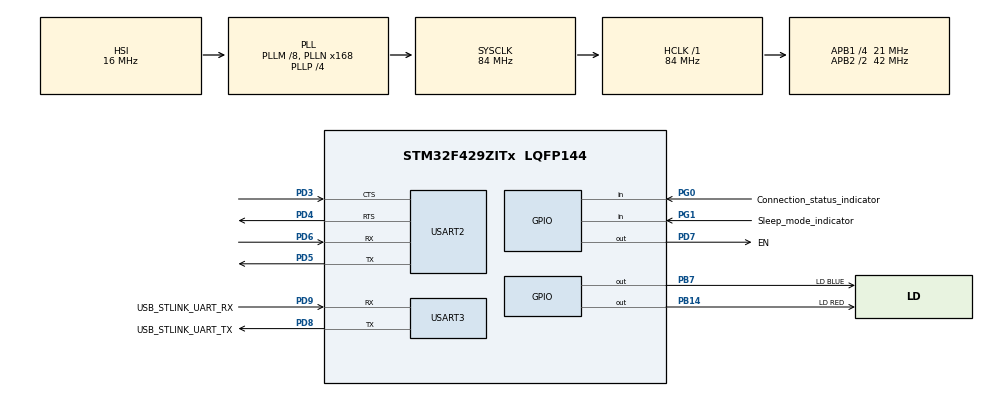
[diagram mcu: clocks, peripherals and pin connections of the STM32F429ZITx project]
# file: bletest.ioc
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Mcu.Family=STM32F4
Mcu.Name=STM32F429ZITx
Mcu.Package=LQFP144
NVIC.PriorityGroup=NVIC_PRIORITYGROUP_4
NVIC.RCC_IRQn=true\:0\:0\:false\:false\:true\:true
NVIC.USART2_IRQn=true\:0\:0\:false\:false\:true\:true
NVIC.USART3_IRQn=true\:0\:0\:false\:false\:true\:true
PB14.GPIO_Label=LD RED
PB14.Signal=GPIO_Output
PB7.GPIO_Label=LD BLUE
PB7.Signal=GPIO_Output
PD3.GPIO_PuPd=GPIO_PULLDOWN
PD3.Mode=CTS_RTS
PD3.Signal=USART2_CTS
PD4.GPIO_PuPd=GPIO_PULLUP
PD4.Mode=CTS_RTS
PD4.Signal=USART2_RTS
PD5.Mode=Asynchronous
PD5.Signal=USART2_TX
PD6.Mode=Asynchronous
PD6.Signal=USART2_RX
PD7.GPIO_Label=EN
PD7.Signal=GPIO_Output
PD8.GPIO_Label=USB_STLINK_UART_TX
PD8.Mode=Asynchronous
PD8.Signal=USART3_TX
PD9.GPIO_Label=USB_STLINK_UART_RX
PD9.Mode=Asynchronous
PD9.Signal=USART3_RX
PG0.GPIO_Label=Connection_status_indicator
PG0.Signal=GPIO_Input
PG1.GPIO_Label=Sleep_mode_indicator
PG1.Signal=GPIO_Input
PH0/OSC_IN.Mode=HSE-External-Oscillator
PH0/OSC_IN.Signal=RCC_OSC_IN
PH1/OSC_OUT.Mode=HSE-External-Oscillator
PH1/OSC_OUT.Signal=RCC_OSC_OUT
ProjectManager.HeapSize=0x200
ProjectManager.StackSize=0x400
ProjectManager.TargetToolchain=MDK-ARM V5
RCC.48MHZClocksFreq_Value=48000000
RCC.AHBFreq_Value=84000000
RCC.APB1CLKDivider=RCC_HCLK_DIV4
RCC.APB1Freq_Value=21000000
RCC.APB1TimFreq_Value=42000000
RCC.APB2CLKDivider=RCC_HCLK_DIV2
RCC.APB2Freq_Value=42000000
RCC.APB2TimCLKDivider=2
RCC.APB2TimFreq_Value=84000000
RCC.CortexFreq_Value=84000000
RCC.HCLKFreq_Value=84000000
RCC.HSE_VALUE=8000000
RCC.HSI_VALUE=16000000
RCC.LSE_VALUE=32768
RCC.PLLM=8
RCC.PLLMUL=RCC_PLL_MUL9
RCC.PLLN=168
RCC.PLLP=RCC_PLLP_DIV4
RCC.PLLQ=7
RCC.PRESCALERUSB=RCC_USBCLKSOURCE_PLL_DIV1_5
RCC.SYSCLKFreq_VALUE=84000000
RCC.SYSCLKSource=RCC_SYSCLKSOURCE_PLLCLK
RCC.SYSCLKSourceVirtual=RCC_SYSCLKSOURCE_PLLCLK
RCC.USBFreq_Value=48000000
RCC.VCOOutputFreq_Value=336000000
USART2.VirtualMode=VM_ASYNC
USART3.VirtualMode=VM_ASYNC
board=NUCLEO-F429ZI

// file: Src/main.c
/**
  ******************************************************************************
  * @file           : main.c
  * @brief          : Main program body
  ******************************************************************************
  ** This notice applies to any and all portions of this file
  * that are not between comment pairs USER CODE BEGIN and
  * USER CODE END. Other portions of this file, whether
  * inserted by the user or by software development tools
  * are owned by their respective copyright owners.
  *
  * COPYRIGHT(c) 2018 STMicroelectronics
  *
  * Redistribution and use in source and binary forms, with or without modification,
  * are permitted provided that the following conditions are met:
  *   1. Redistributions of source code must retain the above copyright notice,
  *      this list of conditions and the following disclaimer.
  *   2. Redistributions in binary form must reproduce the above copyright notice,
  *      this list of conditions and the following disclaimer in the documentation
  *      and/or other materials provided with the distribution.
  *   3. Neither the name of STMicroelectronics nor the names of its contributors
  *      may be used to endorse or promote products derived from this software
  *      without specific prior written permission.
  *
  * THIS SOFTWARE IS PROVIDED BY THE COPYRIGHT HOLDERS AND CONTRIBUTORS "AS IS"
  * AND ANY EXPRESS OR IMPLIED WARRANTIES, INCLUDING, BUT NOT LIMITED TO, THE
  * IMPLIED WARRANTIES OF MERCHANTABILITY AND FITNESS FOR A PARTICULAR PURPOSE ARE
  * DISCLAIMED. IN NO EVENT SHALL THE COPYRIGHT HOLDER OR CONTRIBUTORS BE LIABLE
  * FOR ANY DIRECT, INDIRECT, INCIDENTAL, SPECIAL, EXEMPLARY, OR CONSEQUENTIAL
  * DAMAGES (INCLUDING, BUT NOT LIMITED TO, PROCUREMENT OF SUBSTITUTE GOODS OR
  * SERVICES; LOSS OF USE, DATA, OR PROFITS; OR BUSINESS INTERRUPTION) HOWEVER
  * CAUSED AND ON ANY THEORY OF LIABILITY, WHETHER IN CONTRACT, STRICT LIABILITY,
  * OR TORT (INCLUDING NEGLIGENCE OR OTHERWISE) ARISING IN ANY WAY OUT OF THE USE
  * OF THIS SOFTWARE, EVEN IF ADVISED OF THE POSSIBILITY OF SUCH DAMAGE.
  *
  ******************************************************************************
  */
#include "main.h"
#include "stm32f4xx_hal.h"

/* USER CODE BEGIN Includes */
#include <stdlib.h>
#include <string.h>
#include <stdio.h>
//#include "ringbuffer.h"
#define RBUFSIZE 500
/* USER CODE END Includes */

UART_HandleTypeDef huart2;
UART_HandleTypeDef huart3;

/* USER CODE BEGIN PV */
/* Private variables ---------------------------------------------------------*/

/* USER CODE END PV */

void SystemClock_Config(void);
static void MX_GPIO_Init(void);
static void MX_USART3_UART_Init(void);
static void MX_USART2_UART_Init(void);

/* USER CODE BEGIN PFP */
/* Private function prototypes -----------------------------------------------*/

/* USER CODE END PFP */

/* USER CODE BEGIN 0 */
	uint8_t rec_from_BLE[500];
	uint8_t tmp_from_BLE[1];
	uint8_t rec_from_PC[500];
	uint8_t tmp_from_PC[1];
	uint8_t DISCON[17]="TTM:DISCONNECT\r\n\0";
	uint8_t Ble_Cnt,Pc_Cnt;

//	ringbuffer_t rb;//ringbuffer variable
	uint8_t tbrawbuffer[RBUFSIZE];//ring buffer's raw buffer
	uint8_t userbuffer[RBUFSIZE];//the buffer for get data from ring buffer

void HAL_UART_RxCpltCallback(UART_HandleTypeDef *huart)
{
			/*
		BRTS
			As the data sending requests (for module wake-up)
			0: Host has data to send, and module will wait for data transmission from the host so will not sleep
			1: Host has no data to send, or data has been sent. So the value of the signal should be set at "1".
		BCTS
			Data input signal (for host wake-up, optional)
			0: Module has data to send, and the host will receive the data.
			1: Module has no data to send, or data has been sent, and the value of the signal will be set at "1".

		HAL_GPIO_WritePin(GPIOF,GPIO_PIN_13,GPIO_PIN_RESET); //BCTS 0
	  HAL_GPIO_WritePin(GPIOF,GPIO_PIN_12,GPIO_PIN_SET); //BRTS 1
		*/
	if((huart->Instance)==USART2){ //uart - ble.  receive from ble module //to mcu
		HAL_GPIO_WritePin(GPIOB,GPIO_PIN_14,GPIO_PIN_SET);
		//HAL_GPIO_WritePin(GPIOF,GPIO_PIN_13,GPIO_PIN_RESET); //BCTS 0
		//HAL_GPIO_ReadPin(GPIOF,GPIO_PIN_13);
	  //HAL_GPIO_WritePin(GPIOF,GPIO_PIN_12,GPIO_PIN_SET); //BRTS 1
		/*
		HAL_GPIO_WritePin(GPIOB,GPIO_PIN_14,GPIO_PIN_SET);//LD3 ON
		while(tmp_from_BLE[0]!=4 && tmp_from_BLE[0]!='\0' &&tmp_from_BLE[0]!='\n' &&tmp_from_BLE[0]!='\r' ){
			rec_from_BLE[Ble_Cnt]=tmp_from_BLE[0];Ble_Cnt++;
		}

		if(tmp_from_BLE[0]==4 || tmp_from_BLE[0]!='\0' || tmp_from_BLE[0]!='\n'  ){
			rec_from_BLE[Ble_Cnt]=tmp_from_BLE[0];
			if(!strncmp((const char *)rec_from_BLE,(const char *)DISCON,(uint8_t)14)){
				HAL_UART_Transmit(&huart3,DISCON,sizeof(DISCON),200);
				HAL_GPIO_WritePin(GPIOB,GPIO_PIN_14,GPIO_PIN_RESET); //LD3 OFF
			}//Print "TTM:DISCONNECT"
			else{
				uint8_t *tmp;
				uint8_t cnt=0;
				HAL_UART_Transmit(&huart3,rec_from_BLE,Ble_Cnt,200);
			//	while(rec_from_BLE[cnt]!='\0'){
				//	cnt++;
				//}
				//tmp=(uint8_t *)calloc(Ble_Cnt-1,sizeof(uint8_t));
				//for(int i=0;i<Ble_Cnt;i++){
					//tmp[i]=rec_from_BLE[i];
				//}
				//HAL_UART_Transmit(&huart3,tmp,sizeof(tmp)-4,200);
				//free(tmp);
			}//else
			Ble_Cnt=0; //re-init
		}//end if
		*/
		uint8_t TmpBle[12],TmpBleCase;
		TmpBleCase=rec_from_BLE[0];
		if(TmpBleCase>='0'&&TmpBleCase<='9'){
				sprintf((char *)TmpBle,"BLE:I'm%c\r\n",TmpBleCase);
				HAL_UART_Transmit(&huart3,TmpBle,10,100);

		}
			//HAL_GPIO_WritePin(GPIOB,GPIO_PIN_14,GPIO_PIN_RESET); //LD3 OFF
			//HAL_GPIO_WritePin(GPIOF,GPIO_PIN_13,GPIO_PIN_SET); //BCTS 1
			HAL_UART_Receive_IT(&huart2,rec_from_BLE,1);
			HAL_UART_Receive_IT(&huart3,rec_from_PC,1);

		}//USART2 End

	if((huart->Instance)==USART3){//uart - pc. receive from pc //to mcu
		//HAL_GPIO_WritePin(GPIOB,GPIO_PIN_7,GPIO_PIN_SET);//LD2 ON

		//HAL_GPIO_WritePin(GPIOB,GPIO_PIN_7,GPIO_PIN_SET);
		//HAL_GPIO_WritePin(GPIOF,GPIO_PIN_13,GPIO_PIN_SET); //BCTS 1
		//HAL_GPIO_ReadPin(GPIOF,GPIO_PIN_13);
	 // HAL_GPIO_WritePin(GPIOF,GPIO_PIN_12,GPIO_PIN_RESET); //BRTS 0
		uint8_t TmpPc[12],TmpPcCase;
		TmpPcCase=rec_from_PC[0];
		switch(TmpPcCase){
			case '0':
				sprintf((char *)TmpPc,"PC:I'm%d\r\n",0);
				HAL_UART_Transmit(&huart2,TmpPc,9,100);
				break;
			case '1':
				sprintf((char *)TmpPc,"PC:I'm%d\r\n",1);
				HAL_UART_Transmit(&huart2,TmpPc,9,100);
				break;
			case '2':
				sprintf((char *)TmpPc,"PC:I'm%d\r\n",2);
				HAL_UART_Transmit(&huart2,TmpPc,9,100);
				break;
			case '3':
				sprintf((char *)TmpPc,"PC:I'm%d\r\n",3);
				HAL_UART_Transmit(&huart2,TmpPc,9,100);
				break;
			case '4':
				sprintf((char *)TmpPc,"PC:I'm%d\r\n",4);
				HAL_UART_Transmit(&huart2,TmpPc,9,100);
				break;
			case '5':
				sprintf((char *)TmpPc,"PC:I'm%d\r\n",5);
				HAL_UART_Transmit(&huart2,TmpPc,9,100);
				break;
		}
		/*uart3
		if(!strncmp((const char *)rec_from_PC,(const char *)"TTM:",4)){
			HAL_UART_Transmit(&huart3,tmp,4,10);
			HAL_UART_Transmit(&huart6,tmp,4,10);
			HAL_GPIO_WritePin(GPIOB,GPIO_PIN_7,GPIO_PIN_SET);//LD2 ON
			uint8_t AT[30],tmp[20],i=4,cnt=0,at_size;
			for(int j=0;j<4;j++){
				AT[j]=rec_from_PC[j];
			}
			HAL_UART_Receive(&huart3,tmp,sizeof(tmp),2000);
			while(tmp[cnt]!='\n' &&tmp[cnt]!='\r'&&tmp[cnt]!='\0'){
				AT[i]=tmp[cnt];
				cnt++;
				i++;
			}
		*/
/*
			while(AT[i]!='\0'){
				HAL_UART_Receive(&huart3,tmp,1,5000);
				AT[i]=tmp[0];
				i++;
			}//while
*/
/*
			AT[i]='\r';
			AT[i+1]='\n';
			AT[i+2]='\0';
		HAL_UART_Transmit(&huart6,AT,i+3,100); //transmit pc to ble
		HAL_UART_Transmit(&huart3,AT,i+3,100); //print. echo
		HAL_GPIO_WritePin(GPIOB,GPIO_PIN_7,GPIO_PIN_SET);//LD2 ON
		HAL_UART_Receive_IT(&huart3,rec_from_PC,4);//receive from PC
	}//end strncmp
	*/

		//HAL_GPIO_TogglePin(GPIOB,GPIO_PIN_14);

		HAL_UART_Receive_IT(&huart3,rec_from_PC,1);//receive from PC
		HAL_UART_Receive_IT(&huart2,rec_from_BLE,1);//receive from PC
		//HAL_Delay(10);
		//HAL_GPIO_WritePin(GPIOF,GPIO_PIN_12,GPIO_PIN_SET); //BRTS 1

	}//end uart3
	HAL_GPIO_WritePin(GPIOB,GPIO_PIN_14,GPIO_PIN_RESET);
}//end callback func

/* USER CODE END 0 */

int main(void)
{

  /* MCU Configuration----------------------------------------------------------*/

  /* Reset of all peripherals, Initializes the Flash interface and the Systick. */
  HAL_Init();

  /* USER CODE BEGIN Init */
//	ringbuffer_initialize(&rb,(uint8_t)RBUFSIZE);
  /* USER CODE END Init */

  /* Configure the system clock */
  SystemClock_Config();

  /* Initialize all configured peripherals */
  MX_GPIO_Init();
  MX_USART3_UART_Init();
  MX_USART2_UART_Init();
  /* USER CODE BEGIN 2 */
//	uint8_t arr[5]="Abcd";
  /* USER CODE END 2 */

  /* Infinite loop */
  /* USER CODE BEGIN WHILE */
		HAL_GPIO_WritePin(GPIOD,GPIO_PIN_7,GPIO_PIN_RESET);//0: ENABLE
		HAL_GPIO_WritePin(GPIOB,GPIO_PIN_14,GPIO_PIN_RESET); //LD3 OFF   LED using for check

		//HAL_GPIO_WritePin(GPIOF,GPIO_PIN_12,GPIO_PIN_SET); //BRTS 1: Host has no data to send, or data has been sent. So the value of the signal should be set at ?1?.
		//HAL_GPIO_WritePin(GPIOF,GPIO_PIN_13,GPIO_PIN_RESET); //BCTS 0 :Module has data to send, and the host will receive the data.
		//HAL_GPIO_ReadPin(GPIOF,GPIO_PIN_13);
		uint8_t test[5]="hihi";
		HAL_Delay(100);
		HAL_UART_Receive(&huart2,rec_from_BLE,14,30000);
		//HAL_UART_Transmit(&huart3,rec_from_BLE,14,100);
		HAL_UART_Transmit(&huart3,rec_from_BLE,14,100);
		//HAL_GPIO_WritePin(GPIOF,GPIO_PIN_12,GPIO_PIN_SET); //BRTS 1: Host has no data to send, or data has been sent. So the value of the signal should be set at "1"
		//uint8_t arrtest[100],i=0;
		HAL_UART_Receive_IT(&huart2,tmp_from_BLE,1);//receive from ble module
		HAL_UART_Receive_IT(&huart3,tmp_from_PC,1);//receive from PC

  while (1)
  {
  /* USER CODE END WHILE */

  /* USER CODE BEGIN 3 */
		/*
		BRTS
			As the data sending requests (for module wake-up)
			0: Host has data to send, and module will wait for data transmission from the host so will not sleep
			1: Host has no data to send, or data has been sent. So the value of the signal should be set at "1".
		BCTS
			Data input signal (for host wake-up, optional)
			0: Module has data to send, and the host will receive the data.
			1: Module has no data to send, or data has been sent, and the value of the signal will be set at "1".

		HAL_GPIO_WritePin(GPIOF,GPIO_PIN_13,GPIO_PIN_RESET); //BCTS 0
	  HAL_GPIO_WritePin(GPIOF,GPIO_PIN_12,GPIO_PIN_SET); //BRTS 1
		*/

		/* MCU -> Mobile test working
  	sprintf((char *)arrtest,"arr test=%d\n",i);
		HAL_UART_Transmit(&huart6,arrtest,11,100);
		HAL_UART_Transmit(&huart3,arrtest,11,100);
		i++;
		*/

	//	HAL_UART_Transmit(&huart3,arr,5,10);//uart to pc
		//HAL_UART_Transmit(&huart6,arr,5,10);//uart to BLE
		//HAL_GPIO_WritePin(GPIOF,GPIO_PIN_12,GPIO_PIN_SET); //BRTS 1
		//HAL_GPIO_WritePin(GPIOF,GPIO_PIN_13,GPIO_PIN_SET); //BCTS 1
		//HAL_GPIO_ReadPin(GPIOF,GPIO_PIN_13);
		//HAL_UART_Transmit(&huart2,test,4,10);
		HAL_GPIO_TogglePin(GPIOB,GPIO_PIN_7);
		HAL_Delay(500);
  }
  /* USER CODE END 3 */

}

void SystemClock_Config(void)
{

  RCC_OscInitTypeDef RCC_OscInitStruct;
  RCC_ClkInitTypeDef RCC_ClkInitStruct;

    /**Configure the main internal regulator output voltage
    */
  __HAL_RCC_PWR_CLK_ENABLE();

  __HAL_PWR_VOLTAGESCALING_CONFIG(PWR_REGULATOR_VOLTAGE_SCALE3);

    /**Initializes the CPU, AHB and APB busses clocks
    */
  RCC_OscInitStruct.OscillatorType = RCC_OSCILLATORTYPE_HSI;
  RCC_OscInitStruct.HSIState = RCC_HSI_ON;
  RCC_OscInitStruct.HSICalibrationValue = 16;
  RCC_OscInitStruct.PLL.PLLState = RCC_PLL_ON;
  RCC_OscInitStruct.PLL.PLLSource = RCC_PLLSOURCE_HSI;
  RCC_OscInitStruct.PLL.PLLM = 8;
  RCC_OscInitStruct.PLL.PLLN = 168;
  RCC_OscInitStruct.PLL.PLLP = RCC_PLLP_DIV4;
  RCC_OscInitStruct.PLL.PLLQ = 7;
  if (HAL_RCC_OscConfig(&RCC_OscInitStruct) != HAL_OK)
  {
    _Error_Handler(__FILE__, __LINE__);
  }

    /**Initializes the CPU, AHB and APB busses clocks
    */
  RCC_ClkInitStruct.ClockType = RCC_CLOCKTYPE_HCLK|RCC_CLOCKTYPE_SYSCLK
                              |RCC_CLOCKTYPE_PCLK1|RCC_CLOCKTYPE_PCLK2;
  RCC_ClkInitStruct.SYSCLKSource = RCC_SYSCLKSOURCE_PLLCLK;
  RCC_ClkInitStruct.AHBCLKDivider = RCC_SYSCLK_DIV1;
  RCC_ClkInitStruct.APB1CLKDivider = RCC_HCLK_DIV4;
  RCC_ClkInitStruct.APB2CLKDivider = RCC_HCLK_DIV2;

  if (HAL_RCC_ClockConfig(&RCC_ClkInitStruct, FLASH_LATENCY_2) != HAL_OK)
  {
    _Error_Handler(__FILE__, __LINE__);
  }

    /**Configure the Systick interrupt time
    */
  HAL_SYSTICK_Config(HAL_RCC_GetHCLKFreq()/1000);

    /**Configure the Systick
    */
  HAL_SYSTICK_CLKSourceConfig(SYSTICK_CLKSOURCE_HCLK);

  /* SysTick_IRQn interrupt configuration */
  HAL_NVIC_SetPriority(SysTick_IRQn, 0, 0);
}

/* USART2 init function */
static void MX_USART2_UART_Init(void)
{

  huart2.Instance = USART2;
  huart2.Init.BaudRate = 115200;
  huart2.Init.WordLength = UART_WORDLENGTH_8B;
  huart2.Init.StopBits = UART_STOPBITS_1;
  huart2.Init.Parity = UART_PARITY_NONE;
  huart2.Init.Mode = UART_MODE_TX_RX;
  huart2.Init.HwFlowCtl = UART_HWCONTROL_RTS_CTS;
  huart2.Init.OverSampling = UART_OVERSAMPLING_16;
  if (HAL_UART_Init(&huart2) != HAL_OK)
  {
    _Error_Handler(__FILE__, __LINE__);
  }

}

/* USART3 init function */
static void MX_USART3_UART_Init(void)
{

  huart3.Instance = USART3;
  huart3.Init.BaudRate = 115200;
  huart3.Init.WordLength = UART_WORDLENGTH_8B;
  huart3.Init.StopBits = UART_STOPBITS_1;
  huart3.Init.Parity = UART_PARITY_NONE;
  huart3.Init.Mode = UART_MODE_TX_RX;
  huart3.Init.HwFlowCtl = UART_HWCONTROL_NONE;
  huart3.Init.OverSampling = UART_OVERSAMPLING_16;
  if (HAL_UART_Init(&huart3) != HAL_OK)
  {
    _Error_Handler(__FILE__, __LINE__);
  }

}

/** Configure pins as
        * Analog
        * Input
        * Output
        * EVENT_OUT
        * EXTI
*/
static void MX_GPIO_Init(void)
{

  GPIO_InitTypeDef GPIO_InitStruct;

  /* GPIO Ports Clock Enable */
  __HAL_RCC_GPIOH_CLK_ENABLE();
  __HAL_RCC_GPIOG_CLK_ENABLE();
  __HAL_RCC_GPIOB_CLK_ENABLE();
  __HAL_RCC_GPIOD_CLK_ENABLE();

  /*Configure GPIO pin Output Level */
  HAL_GPIO_WritePin(GPIOB, LD_RED_Pin|LD_BLUE_Pin, GPIO_PIN_RESET);

  /*Configure GPIO pin Output Level */
  HAL_GPIO_WritePin(EN_GPIO_Port, EN_Pin, GPIO_PIN_RESET);

  /*Configure GPIO pins : Connection_status_indicator_Pin Sleep_mode_indicator_Pin */
  GPIO_InitStruct.Pin = Connection_status_indicator_Pin|Sleep_mode_indicator_Pin;
  GPIO_InitStruct.Mode = GPIO_MODE_INPUT;
  GPIO_InitStruct.Pull = GPIO_NOPULL;
  HAL_GPIO_Init(GPIOG, &GPIO_InitStruct);

  /*Configure GPIO pins : LD_RED_Pin LD_BLUE_Pin */
  GPIO_InitStruct.Pin = LD_RED_Pin|LD_BLUE_Pin;
  GPIO_InitStruct.Mode = GPIO_MODE_OUTPUT_PP;
  GPIO_InitStruct.Pull = GPIO_NOPULL;
  GPIO_InitStruct.Speed = GPIO_SPEED_FREQ_LOW;
  HAL_GPIO_Init(GPIOB, &GPIO_InitStruct);

  /*Configure GPIO pin : EN_Pin */
  GPIO_InitStruct.Pin = EN_Pin;
  GPIO_InitStruct.Mode = GPIO_MODE_OUTPUT_PP;
  GPIO_InitStruct.Pull = GPIO_NOPULL;
  GPIO_InitStruct.Speed = GPIO_SPEED_FREQ_LOW;
  HAL_GPIO_Init(EN_GPIO_Port, &GPIO_InitStruct);

}

void _Error_Handler(char *file, int line)
{
  while(1)
  {
  }
}

/************************ (C) COPYRIGHT STMicroelectronics *****END OF FILE****/
